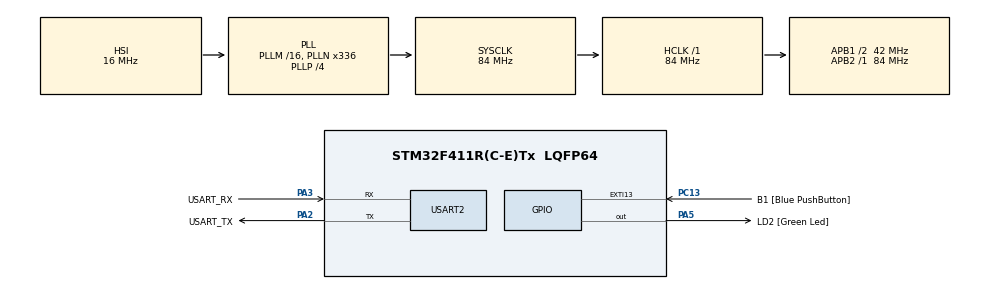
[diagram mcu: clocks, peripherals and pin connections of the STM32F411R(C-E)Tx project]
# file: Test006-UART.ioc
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Mcu.Family=STM32F4
Mcu.Name=STM32F411R(C-E)Tx
Mcu.Package=LQFP64
NVIC.PriorityGroup=NVIC_PRIORITYGROUP_0
NVIC.USART2_IRQn=true\:0\:0\:false\:false\:true\:true\:true\:true
PA13.GPIO_Label=TMS
PA13.Mode=Serial_Wire
PA13.Signal=SYS_JTMS-SWDIO
PA14.GPIO_Label=TCK
PA14.Mode=Serial_Wire
PA14.Signal=SYS_JTCK-SWCLK
PA2.GPIO_Label=USART_TX
PA2.Mode=Asynchronous
PA2.Signal=USART2_TX
PA3.GPIO_Label=USART_RX
PA3.Mode=Asynchronous
PA3.Signal=USART2_RX
PA5.GPIO_Label=LD2 [Green Led]
PA5.Signal=GPIO_Output
PB3.GPIO_Label=SWO
PB3.Signal=SYS_JTDO-SWO
PC13-ANTI_TAMP.GPIO_Label=B1 [Blue PushButton]
PC13-ANTI_TAMP.GPIO_ModeDefaultEXTI=GPIO_MODE_IT_FALLING
PC13-ANTI_TAMP.Signal=GPXTI13
PC14-OSC32_IN.Mode=LSE-External-Oscillator
PC14-OSC32_IN.Signal=RCC_OSC32_IN
PC15-OSC32_OUT.Mode=LSE-External-Oscillator
PC15-OSC32_OUT.Signal=RCC_OSC32_OUT
PH0\ -\ OSC_IN.Mode=HSE-External-Clock-Source
PH0\ -\ OSC_IN.Signal=RCC_OSC_IN
PH1\ -\ OSC_OUT.Mode=HSE-External-Clock-Source
PH1\ -\ OSC_OUT.Signal=RCC_OSC_OUT
ProjectManager.HeapSize=0x200
ProjectManager.StackSize=0x400
ProjectManager.TargetToolchain=STM32CubeIDE
RCC.48MHZClocksFreq_Value=84000000
RCC.AHBFreq_Value=84000000
RCC.APB1CLKDivider=RCC_HCLK_DIV2
RCC.APB1Freq_Value=42000000
RCC.APB1TimFreq_Value=84000000
RCC.APB2Freq_Value=84000000
RCC.APB2TimFreq_Value=84000000
RCC.CortexFreq_Value=84000000
RCC.FLatency-AdvancedSettings=FLASH_LATENCY_2
RCC.HCLKFreq_Value=84000000
RCC.HSE_VALUE=8000000
RCC.HSI_VALUE=16000000
RCC.PLLN=336
RCC.PLLP=RCC_PLLP_DIV4
RCC.SYSCLKFreq_VALUE=84000000
RCC.SYSCLKSource=RCC_SYSCLKSOURCE_PLLCLK
RCC.VCOOutputFreq_Value=336000000
USART2.VirtualMode=VM_ASYNC
board=NUCLEO-F411RE

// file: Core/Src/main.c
/* USER CODE BEGIN Header */
/**
  ******************************************************************************
  * @file           : main.c
  * @brief          : Main program body
  ******************************************************************************
  * @attention
  *
  * Copyright (c) 2024 STMicroelectronics.
  * All rights reserved.
  *
  * This software is licensed under terms that can be found in the LICENSE file
  * in the root directory of this software component.
  * If no LICENSE file comes with this software, it is provided AS-IS.
  *
  ******************************************************************************
  */
/* USER CODE END Header */
#include "main.h"

UART_HandleTypeDef huart2;

void SystemClock_Config(void);
static void MX_GPIO_Init(void);
static void MX_USART2_UART_Init(void);

/* USER CODE BEGIN 0 */
char buf[500];
char dum;
int idx1=0;
int cmdOk = 1;
void HAL_UART_RxCpltCallback(UART_HandleTypeDef *huart)
{
	HAL_UART_Transmit(&huart2, &dum, 1, 10);
	if(dum == '\r')
	{
		HAL_UART_Transmit(&huart2, "\n", 1, 10);
		cmdOk = 1;
	}
	else cmdOk = 0;
	buf[idx1++] = dum;
	buf[idx1] = 0; // NULL
	HAL_UART_Receive_IT(&huart2, &dum, 1);
}

/* USER CODE END 0 */

int main(void)
{

  /* MCU Configuration--------------------------------------------------------*/

  /* Reset of all peripherals, Initializes the Flash interface and the Systick. */
  HAL_Init();

  /* Configure the system clock */
  SystemClock_Config();

  /* Initialize all configured peripherals */
  MX_GPIO_Init();
  MX_USART2_UART_Init();
  /* USER CODE BEGIN 2 */

  ProgramStart("UART Rx-Interrupt"); Cursor(1);
  HAL_UART_Receive_IT(&huart2, &dum, 1);  // one time interrupt
  /* USER CODE END 2 */

  /* Infinite loop */
  while (1)
  {

    /* USER CODE BEGIN 3 */
	  if(cmdOk > 0)
	  {
		  printf("%s\r\n>\033[A\n", buf); idx1 = 0; cmdOk = 0;
	  }
	  HAL_Delay(10);
  }
  /* USER CODE END 3 */
}

void SystemClock_Config(void)
{
  RCC_OscInitTypeDef RCC_OscInitStruct = {0};
  RCC_ClkInitTypeDef RCC_ClkInitStruct = {0};

  /** Configure the main internal regulator output voltage
  */
  __HAL_RCC_PWR_CLK_ENABLE();
  __HAL_PWR_VOLTAGESCALING_CONFIG(PWR_REGULATOR_VOLTAGE_SCALE1);

  /** Initializes the RCC Oscillators according to the specified parameters
  * in the RCC_OscInitTypeDef structure.
  */
  RCC_OscInitStruct.OscillatorType = RCC_OSCILLATORTYPE_HSI;
  RCC_OscInitStruct.HSIState = RCC_HSI_ON;
  RCC_OscInitStruct.HSICalibrationValue = RCC_HSICALIBRATION_DEFAULT;
  RCC_OscInitStruct.PLL.PLLState = RCC_PLL_ON;
  RCC_OscInitStruct.PLL.PLLSource = RCC_PLLSOURCE_HSI;
  RCC_OscInitStruct.PLL.PLLM = 16;
  RCC_OscInitStruct.PLL.PLLN = 336;
  RCC_OscInitStruct.PLL.PLLP = RCC_PLLP_DIV4;
  RCC_OscInitStruct.PLL.PLLQ = 4;
  if (HAL_RCC_OscConfig(&RCC_OscInitStruct) != HAL_OK)
  {
    Error_Handler();
  }

  /** Initializes the CPU, AHB and APB buses clocks
  */
  RCC_ClkInitStruct.ClockType = RCC_CLOCKTYPE_HCLK|RCC_CLOCKTYPE_SYSCLK
                              |RCC_CLOCKTYPE_PCLK1|RCC_CLOCKTYPE_PCLK2;
  RCC_ClkInitStruct.SYSCLKSource = RCC_SYSCLKSOURCE_PLLCLK;
  RCC_ClkInitStruct.AHBCLKDivider = RCC_SYSCLK_DIV1;
  RCC_ClkInitStruct.APB1CLKDivider = RCC_HCLK_DIV2;
  RCC_ClkInitStruct.APB2CLKDivider = RCC_HCLK_DIV1;

  if (HAL_RCC_ClockConfig(&RCC_ClkInitStruct, FLASH_LATENCY_2) != HAL_OK)
  {
    Error_Handler();
  }
}

static void MX_USART2_UART_Init(void)
{

  huart2.Instance = USART2;
  huart2.Init.BaudRate = 115200;
  huart2.Init.WordLength = UART_WORDLENGTH_8B;
  huart2.Init.StopBits = UART_STOPBITS_1;
  huart2.Init.Parity = UART_PARITY_NONE;
  huart2.Init.Mode = UART_MODE_TX_RX;
  huart2.Init.HwFlowCtl = UART_HWCONTROL_NONE;
  huart2.Init.OverSampling = UART_OVERSAMPLING_16;
  if (HAL_UART_Init(&huart2) != HAL_OK)
  {
    Error_Handler();
  }

}

static void MX_GPIO_Init(void)
{
  GPIO_InitTypeDef GPIO_InitStruct = {0};

  /* GPIO Ports Clock Enable */
  __HAL_RCC_GPIOC_CLK_ENABLE();
  __HAL_RCC_GPIOH_CLK_ENABLE();
  __HAL_RCC_GPIOA_CLK_ENABLE();
  __HAL_RCC_GPIOB_CLK_ENABLE();

  /*Configure GPIO pin Output Level */
  HAL_GPIO_WritePin(LD2_GPIO_Port, LD2_Pin, GPIO_PIN_RESET);

  /*Configure GPIO pin : B1_Pin */
  GPIO_InitStruct.Pin = B1_Pin;
  GPIO_InitStruct.Mode = GPIO_MODE_IT_FALLING;
  GPIO_InitStruct.Pull = GPIO_NOPULL;
  HAL_GPIO_Init(B1_GPIO_Port, &GPIO_InitStruct);

  /*Configure GPIO pin : LD2_Pin */
  GPIO_InitStruct.Pin = LD2_Pin;
  GPIO_InitStruct.Mode = GPIO_MODE_OUTPUT_PP;
  GPIO_InitStruct.Pull = GPIO_NOPULL;
  GPIO_InitStruct.Speed = GPIO_SPEED_FREQ_LOW;
  HAL_GPIO_Init(LD2_GPIO_Port, &GPIO_InitStruct);

}

void Error_Handler(void)
{
  __disable_irq();
  while (1)
  {
  }
}
